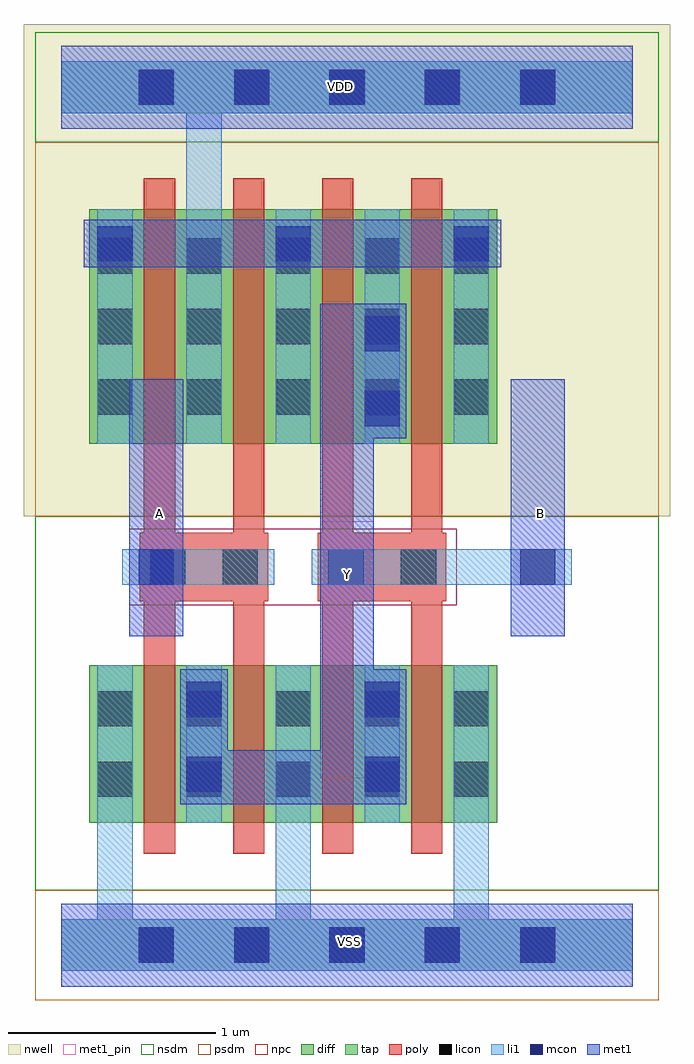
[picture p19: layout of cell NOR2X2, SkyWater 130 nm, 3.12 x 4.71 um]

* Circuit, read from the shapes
.subckt NOR2X2 A B VDD VSS Y
XM1 Y A VSS VSS sky130_fd_pr__nfet_01v8 w=0.76 l=0.15 m=2
XM2 Y B VSS VSS sky130_fd_pr__nfet_01v8 w=0.76 l=0.15 m=2
XM3 VDD A n1 VDD sky130_fd_pr__pfet_01v8 w=1.13 l=0.15 m=2
XM4 Y B n1 VDD sky130_fd_pr__pfet_01v8 w=1.13 l=0.15 m=2
.ends

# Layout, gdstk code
from math import pi, radians
import gdstk
lib = gdstk.Library(unit=1e-6, precision=1e-09)
def R(c, l, rs):  # rectangles x0, y0, x1, y1
    for r in rs: c.add(gdstk.rectangle(r[:2], r[2:], *l))
def A(c, l, x, y, w, h, nx, ny, dx, dy):  # array of equal rectangles
    R(c, l, [(x+i*dx, y+j*dy, x+i*dx+w, y+j*dy+h) for i in range(nx) for j in range(ny)])
def P(c, l, *ps):  # polygons
    for p in ps: c.add(gdstk.Polygon(p, *l))
nwell = (64, 20)
diff = (65, 20)
tap = (65, 44)
poly = (66, 20)
licon = (66, 44)
li1 = (67, 20)
mcon = (67, 44)
met1_pin = (68, 16)
met1 = (68, 20)
nsdm = (93, 44)
psdm = (94, 20)
npc = (95, 20)

pyl1con_c_cdns_751554744 = lib.new_cell('PYL1CON_C_CDNS_751554744751')
R(pyl1con_c_cdns_751554744, poly, [(-0.135,-0.165,0.135,0.165)])
R(pyl1con_c_cdns_751554744, licon, [(-0.085,-0.085,0.085,0.085)])
R(pyl1con_c_cdns_751554744, npc, [(-0.185,-0.185,0.185,0.185)])

nor2x2 = lib.new_cell('NOR2X2')
R(nor2x2, nwell, [(-0.18,2.07,2.94,4.445)])
R(nor2x2, diff, [(0.135,0.59,2.105,1.35), (0.135,2.42,2.105,3.55)])
P(nor2x2, poly, [(1.86,1.99),(1.84,1.99),(1.84,3.7),(1.69,3.7),(1.69,1.99),(1.41,1.99),(1.41,3.7),(1.26,3.7),(1.26,1.99),(1.24,1.99),(1.24,1.66),(1.26,1.66),(1.26,0.44),(1.41,0.44),(1.41,1.66),(1.69,1.66),(1.69,0.44),(1.84,0.44),(1.84,1.66),(1.86,1.66)],
  [(1,1.99),(0.98,1.99),(0.98,3.7),(0.83,3.7),(0.83,1.99),(0.55,1.99),(0.55,3.7),(0.4,3.7),(0.4,1.99),(0.38,1.99),(0.38,1.66),(0.4,1.66),(0.4,0.44),(0.55,0.44),(0.55,1.66),(0.83,1.66),(0.83,0.44),(0.98,0.44),(0.98,1.66),(1,1.66)])
A(nor2x2, licon, 0.375, -0.085, 0.17, 0.17, 5, 2, 0.46, 4.14)
A(nor2x2, licon, 0.175, 0.715, 0.17, 0.17, 5, 2, 0.43, 0.34)
A(nor2x2, licon, 0.175, 2.56, 0.17, 0.17, 5, 3, 0.43, 0.34)
A(nor2x2, li1, 1.035, 2.42, 0.17, 1.13, 3, 1, 0.43, 0)
A(nor2x2, li1, 0.175, 3.22, 0.17, 0.33, 3, 1, 0.86, 0)
R(nor2x2, li1, [(0.605,0.59,0.775,1.35), (1.465,0.59,1.635,1.35), (0.605,0.66,0.775,1.35), (1.465,0.66,1.635,1.35), (0.295,1.74,0.625,1.91), (2.135,1.74,2.465,1.91), (0.175,2.42,0.345,3.55), (1.465,2.425,1.635,3.115)])
P(nor2x2, li1, [(2.76,0.125),(2.065,0.125),(2.065,1.35),(1.895,1.35),(1.895,0.125),(1.205,0.125),(1.205,1.35),(1.035,1.35),(1.035,0.125),(0.345,0.125),(0.345,1.35),(0.175,1.35),(0.175,0.125),(0,0.125),(0,-0.125),(2.76,-0.125)],
  [(2.76,4.265),(0,4.265),(0,4.015),(0.605,4.015),(0.605,2.42),(0.775,2.42),(0.775,4.015),(2.76,4.015)])
A(nor2x2, mcon, 0.375, -0.085, 0.17, 0.17, 5, 2, 0.46, 4.14)
A(nor2x2, mcon, 0.175, 3.3, 0.17, 0.17, 3, 1, 0.86, 0)
R(nor2x2, mcon, [(0.605,0.74,0.775,0.91), (1.465,0.74,1.635,0.91), (0.605,1.1,0.775,1.27), (1.465,1.1,1.635,1.27), (0.375,1.74,0.545,1.91), (2.215,1.74,2.385,1.91), (1.465,2.505,1.635,2.675), (1.465,2.865,1.635,3.035)])
R(nor2x2, met1_pin, [(1.25,0.805,1.51,2.045), (0.33,1.49,0.59,2.73), (2.17,1.49,2.43,2.73)])
A(nor2x2, met1, 0.115, 3.27, 0.29, 0.23, 3, 1, 0.86, 0)
R(nor2x2, met1, [(0.575,0.68,0.805,1.33), (1.435,0.68,1.665,1.33), (0.345,1.68,0.575,1.97), (2.185,1.68,2.415,1.97), (1.435,2.445,1.665,3.095)])
P(nor2x2, met1, [(1.51,3.095),(1.25,3.095),(1.25,0.94),(0.805,0.94),(0.805,1.005),(0.575,1.005),(0.575,0.68),(1.51,0.68)])
R(nor2x2, nsdm, [(-0.125,0.265,2.885,2.07), (-0.125,3.875,2.885,4.405)])
R(nor2x2, psdm, [(-0.125,-0.265,2.885,0.265), (-0.125,2.07,2.885,3.875)])
R(nor2x2, npc, [(0.33,1.64,1.91,2.01)])
nor2x2.add(gdstk.FlexPath([(2.135,1.825),(1.21,1.825)], 0.17, ends="flush", simple_path=True, layer=67, datatype=20))  # li1
nor2x2.add(gdstk.FlexPath([(1.03,1.825),(0.35,1.825)], 0.17, ends="flush", simple_path=True, layer=67, datatype=20))  # li1
nor2x2.add(gdstk.FlexPath([(2.3,1.49),(2.3,2.73)], 0.26, ends="flush", simple_path=True, layer=68, datatype=20))  # met1
nor2x2.add(gdstk.FlexPath([(0,4.14),(2.76,4.14)], 0.4, ends="flush", simple_path=True, layer=68, datatype=20))  # met1
nor2x2.add(gdstk.FlexPath([(2.12,3.385),(0.255,3.385)], 0.23, ends=(0, 0.145), simple_path=True, layer=68, datatype=20))  # met1
nor2x2.add(gdstk.FlexPath([(0,0),(2.76,0)], 0.4, ends="flush", simple_path=True, layer=68, datatype=20))  # met1
nor2x2.add(gdstk.FlexPath([(0.46,1.49),(0.46,2.73)], 0.26, ends="flush", simple_path=True, layer=68, datatype=20))  # met1
nor2x2.add(gdstk.FlexPath([(0,0),(2.76,0)], 0.25, ends="flush", simple_path=True, layer=65, datatype=44))  # tap
nor2x2.add(gdstk.FlexPath([(0,4.14),(2.76,4.14)], 0.25, ends="flush", simple_path=True, layer=65, datatype=44))  # tap
nor2x2.add(gdstk.FlexPath([(0,0),(2.76,0)], 0.4, ends="flush", simple_path=True, layer=68, datatype=16))  # met1_pin
nor2x2.add(gdstk.FlexPath([(0,4.14),(2.76,4.14)], 0.4, ends="flush", simple_path=True, layer=68, datatype=16))  # met1_pin
nor2x2.add(gdstk.Reference(pyl1con_c_cdns_751554744, (0.865,1.825), rotation=pi, x_reflection=True))
nor2x2.add(gdstk.Reference(pyl1con_c_cdns_751554744, (0.515,1.825), rotation=pi, x_reflection=True))
nor2x2.add(gdstk.Reference(pyl1con_c_cdns_751554744, (1.375,1.825), rotation=pi, x_reflection=True))
nor2x2.add(gdstk.Reference(pyl1con_c_cdns_751554744, (1.725,1.825), rotation=pi, x_reflection=True))
nor2x2.add(gdstk.Label('A', (0.475,2.085), layer=68, texttype=5))
nor2x2.add(gdstk.Label('B', (2.315,2.085), layer=68, texttype=5))
nor2x2.add(gdstk.Label('VSS', (1.39,0.015), layer=68, texttype=5))
nor2x2.add(gdstk.Label('VDD', (1.35,4.145), layer=68, texttype=5))
nor2x2.add(gdstk.Label('Y', (1.38,1.79), layer=68, texttype=5))

lib.write_gds('NOR2X2.gds')
